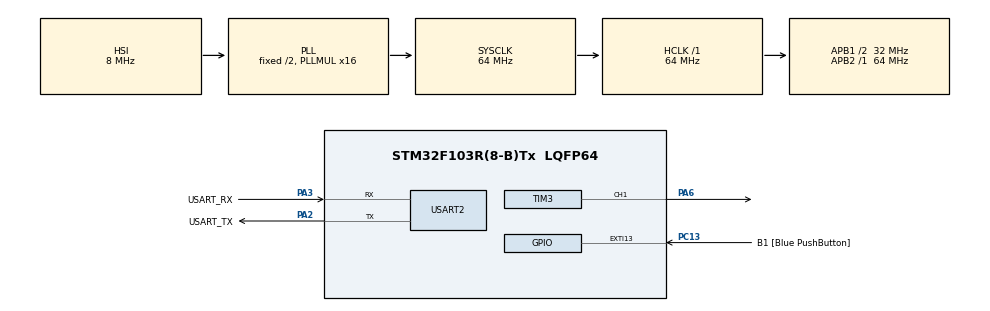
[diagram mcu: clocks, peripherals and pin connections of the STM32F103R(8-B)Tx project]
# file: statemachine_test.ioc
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Mcu.Family=STM32F1
Mcu.Name=STM32F103R(8-B)Tx
Mcu.Package=LQFP64
NVIC.EXTI15_10_IRQn=true\:0\:0\:false\:false\:true\:true\:true\:true
NVIC.PriorityGroup=NVIC_PRIORITYGROUP_4
NVIC.TIM3_IRQn=true\:0\:0\:false\:false\:true\:true\:true\:true
PA13.GPIO_Label=TMS
PA13.Mode=Serial_Wire
PA13.Signal=SYS_JTMS-SWDIO
PA14.GPIO_Label=TCK
PA14.Mode=Serial_Wire
PA14.Signal=SYS_JTCK-SWCLK
PA2.GPIO_Label=USART_TX
PA2.GPIO_Mode=GPIO_MODE_AF_PP
PA2.GPIO_PuPd=GPIO_NOPULL
PA2.GPIO_Speed=GPIO_SPEED_FREQ_LOW
PA2.Mode=Asynchronous
PA2.Signal=USART2_TX
PA3.GPIO_Label=USART_RX
PA3.GPIO_Mode=GPIO_MODE_AF_PP
PA3.GPIO_PuPd=GPIO_NOPULL
PA3.GPIO_Speed=GPIO_SPEED_FREQ_LOW
PA3.Mode=Asynchronous
PA3.Signal=USART2_RX
PA6.Signal=S_TIM3_CH1
PB3.GPIO_Label=SWO
PB3.Signal=SYS_JTDO-TRACESWO
PC13-TAMPER-RTC.GPIO_Label=B1 [Blue PushButton]
PC13-TAMPER-RTC.GPIO_PuPd=GPIO_NOPULL
PC13-TAMPER-RTC.Signal=GPXTI13
PC14-OSC32_IN.Mode=LSE-External-Oscillator
PC14-OSC32_IN.Signal=RCC_OSC32_IN
PC15-OSC32_OUT.Mode=LSE-External-Oscillator
PC15-OSC32_OUT.Signal=RCC_OSC32_OUT
PD0-OSC_IN.Mode=HSE-External-Clock-Source
PD0-OSC_IN.Signal=RCC_OSC_IN
PD1-OSC_OUT.Mode=HSE-External-Clock-Source
PD1-OSC_OUT.Signal=RCC_OSC_OUT
ProjectManager.HeapSize=0x200
ProjectManager.StackSize=0x400
ProjectManager.TargetToolchain=STM32CubeIDE
RCC.AHBFreq_Value=64000000
RCC.APB1CLKDivider=RCC_HCLK_DIV2
RCC.APB1Freq_Value=32000000
RCC.APB1TimFreq_Value=64000000
RCC.APB2Freq_Value=64000000
RCC.APB2TimFreq_Value=64000000
RCC.HCLKFreq_Value=64000000
RCC.PLLMUL=RCC_PLL_MUL16
RCC.RTCClockSelection=RCC_RTCCLKSOURCE_LSE
RCC.SYSCLKFreq_VALUE=64000000
RCC.SYSCLKSource=RCC_SYSCLKSOURCE_PLLCLK
RCC.USBFreq_Value=64000000
SH.S_TIM3_CH1.0=TIM3_CH1,PWM Generation1 CH1
TIM3.Channel-PWM\ Generation1\ CH1=TIM_CHANNEL_1
TIM3.Period=1000 - 1
TIM3.Prescaler=64 - 1
USART2.VirtualMode=VM_ASYNC
VP_TIM3_VS_ClockSourceINT.Mode=Internal
board=NUCLEO-F103RB

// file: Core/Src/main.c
/* USER CODE BEGIN Header */
/**
  ******************************************************************************
  * @file           : main.c
  * @brief          : Main program body
  ******************************************************************************
  * @attention
  *
  * Copyright (c) 2024 STMicroelectronics.
  * All rights reserved.
  *
  * This software is licensed under terms that can be found in the LICENSE file
  * in the root directory of this software component.
  * If no LICENSE file comes with this software, it is provided AS-IS.
  *
  ******************************************************************************
  */
/* USER CODE END Header */
#include "main.h"

/* USER CODE BEGIN Includes */
#include <stdint.h>
#include <stdio.h>
/* USER CODE END Includes */

/* USER CODE BEGIN PTD */
enum event{
  ON,
  OFF
};

typedef enum{
  LIGHT_OFF,
  LIGHT_DIM,
  LIGHT_MEDIUM,
  LIGHT_FULL
}light_state_t;

light_state_t curr_state;

/* USER CODE END PTD */

/* USER CODE BEGIN PD */
#define LIGHT_BRIGHT_DIM	333
#define LIGHT_BRIGHT_MED	666
#define LIGHT_BRIGHT_FULL	999
#define LIGHT_BRIGHT_OFF	0

/* USER CODE END PD */

TIM_HandleTypeDef htim3;

UART_HandleTypeDef huart2;

void SystemClock_Config(void);
static void MX_GPIO_Init(void);
static void MX_USART2_UART_Init(void);
static void MX_TIM3_Init(void);
/* USER CODE BEGIN PFP */
void light_state_machine(uint8_t event);
void light_change_intensity(uint32_t value);
void run_entry_action(light_state_t state);
/* USER CODE END PFP */

/* USER CODE BEGIN 0 */
int _read(int file, char *ptr, int len){
  HAL_UART_Receive(&huart2, (uint8_t*)ptr, 1, HAL_MAX_DELAY);
  HAL_UART_Transmit(&huart2, (uint8_t*)ptr, 1, 100);
  return 1;
}

int _write(int file, char *ptr, int len){
  HAL_UART_Transmit(&huart2, (uint8_t*)ptr, len, 100);
  return len;
}

void light_init(void){
  curr_state = LIGHT_OFF;
  run_entry_action(LIGHT_OFF);
}
/* USER CODE END 0 */

int main(void)
{

  /* MCU Configuration--------------------------------------------------------*/

  /* Reset of all peripherals, Initializes the Flash interface and the Systick. */
  HAL_Init();

  /* Configure the system clock */
  SystemClock_Config();

  /* Initialize all configured peripherals */
  MX_GPIO_Init();
  MX_USART2_UART_Init();
  MX_TIM3_Init();
  /* USER CODE BEGIN 2 */
  uint8_t rx = 0;
  HAL_TIM_PWM_Start(&htim3, TIM_CHANNEL_1);

  printf("Light control application\r\n");
  printf("-------------------------\r\n");
  printf("Send 'x' or 'o'\r\n");
  /* USER CODE END 2 */

  /* Infinite loop */
  while (1)
  {

    /* USER CODE BEGIN 3 */
    if (HAL_UART_Receive(&huart2, &rx, 1, HAL_MAX_DELAY) == HAL_OK){
	//HAL_UART_Transmit(&huart2, &rx, 1, HAL_MAX_DELAY);
	if (rx == 'o'){
	    light_state_machine(ON);
	}
	else if (rx == 'x'){
	    light_state_machine(OFF);
	}
	rx = 0;
    }
  }
  /* USER CODE END 3 */
}

void SystemClock_Config(void)
{
  RCC_OscInitTypeDef RCC_OscInitStruct = {0};
  RCC_ClkInitTypeDef RCC_ClkInitStruct = {0};

  /** Initializes the RCC Oscillators according to the specified parameters
  * in the RCC_OscInitTypeDef structure.
  */
  RCC_OscInitStruct.OscillatorType = RCC_OSCILLATORTYPE_HSI;
  RCC_OscInitStruct.HSIState = RCC_HSI_ON;
  RCC_OscInitStruct.HSICalibrationValue = RCC_HSICALIBRATION_DEFAULT;
  RCC_OscInitStruct.PLL.PLLState = RCC_PLL_ON;
  RCC_OscInitStruct.PLL.PLLSource = RCC_PLLSOURCE_HSI_DIV2;
  RCC_OscInitStruct.PLL.PLLMUL = RCC_PLL_MUL16;
  if (HAL_RCC_OscConfig(&RCC_OscInitStruct) != HAL_OK)
  {
    Error_Handler();
  }

  /** Initializes the CPU, AHB and APB buses clocks
  */
  RCC_ClkInitStruct.ClockType = RCC_CLOCKTYPE_HCLK|RCC_CLOCKTYPE_SYSCLK
                              |RCC_CLOCKTYPE_PCLK1|RCC_CLOCKTYPE_PCLK2;
  RCC_ClkInitStruct.SYSCLKSource = RCC_SYSCLKSOURCE_PLLCLK;
  RCC_ClkInitStruct.AHBCLKDivider = RCC_SYSCLK_DIV1;
  RCC_ClkInitStruct.APB1CLKDivider = RCC_HCLK_DIV2;
  RCC_ClkInitStruct.APB2CLKDivider = RCC_HCLK_DIV1;

  if (HAL_RCC_ClockConfig(&RCC_ClkInitStruct, FLASH_LATENCY_2) != HAL_OK)
  {
    Error_Handler();
  }
}

static void MX_TIM3_Init(void)
{

  TIM_ClockConfigTypeDef sClockSourceConfig = {0};
  TIM_MasterConfigTypeDef sMasterConfig = {0};
  TIM_OC_InitTypeDef sConfigOC = {0};

  htim3.Instance = TIM3;
  htim3.Init.Prescaler = 64 - 1;
  htim3.Init.CounterMode = TIM_COUNTERMODE_UP;
  htim3.Init.Period = 1000 - 1;
  htim3.Init.ClockDivision = TIM_CLOCKDIVISION_DIV1;
  htim3.Init.AutoReloadPreload = TIM_AUTORELOAD_PRELOAD_DISABLE;
  if (HAL_TIM_Base_Init(&htim3) != HAL_OK)
  {
    Error_Handler();
  }
  sClockSourceConfig.ClockSource = TIM_CLOCKSOURCE_INTERNAL;
  if (HAL_TIM_ConfigClockSource(&htim3, &sClockSourceConfig) != HAL_OK)
  {
    Error_Handler();
  }
  if (HAL_TIM_PWM_Init(&htim3) != HAL_OK)
  {
    Error_Handler();
  }
  sMasterConfig.MasterOutputTrigger = TIM_TRGO_RESET;
  sMasterConfig.MasterSlaveMode = TIM_MASTERSLAVEMODE_DISABLE;
  if (HAL_TIMEx_MasterConfigSynchronization(&htim3, &sMasterConfig) != HAL_OK)
  {
    Error_Handler();
  }
  sConfigOC.OCMode = TIM_OCMODE_PWM1;
  sConfigOC.Pulse = 0;
  sConfigOC.OCPolarity = TIM_OCPOLARITY_HIGH;
  sConfigOC.OCFastMode = TIM_OCFAST_DISABLE;
  if (HAL_TIM_PWM_ConfigChannel(&htim3, &sConfigOC, TIM_CHANNEL_1) != HAL_OK)
  {
    Error_Handler();
  }
  HAL_TIM_MspPostInit(&htim3);

}

static void MX_USART2_UART_Init(void)
{

  huart2.Instance = USART2;
  huart2.Init.BaudRate = 115200;
  huart2.Init.WordLength = UART_WORDLENGTH_8B;
  huart2.Init.StopBits = UART_STOPBITS_1;
  huart2.Init.Parity = UART_PARITY_NONE;
  huart2.Init.Mode = UART_MODE_TX_RX;
  huart2.Init.HwFlowCtl = UART_HWCONTROL_NONE;
  huart2.Init.OverSampling = UART_OVERSAMPLING_16;
  if (HAL_UART_Init(&huart2) != HAL_OK)
  {
    Error_Handler();
  }

}

static void MX_GPIO_Init(void)
{
  GPIO_InitTypeDef GPIO_InitStruct = {0};

  /* GPIO Ports Clock Enable */
  __HAL_RCC_GPIOC_CLK_ENABLE();
  __HAL_RCC_GPIOD_CLK_ENABLE();
  __HAL_RCC_GPIOA_CLK_ENABLE();
  __HAL_RCC_GPIOB_CLK_ENABLE();

  /*Configure GPIO pin : B1_Pin */
  GPIO_InitStruct.Pin = B1_Pin;
  GPIO_InitStruct.Mode = GPIO_MODE_IT_RISING;
  GPIO_InitStruct.Pull = GPIO_NOPULL;
  HAL_GPIO_Init(B1_GPIO_Port, &GPIO_InitStruct);

  /* EXTI interrupt init*/
  HAL_NVIC_SetPriority(EXTI15_10_IRQn, 0, 0);
  HAL_NVIC_EnableIRQ(EXTI15_10_IRQn);

}

/* USER CODE BEGIN 4 */

/**
 * Impementation of state machine handler
 * - Nested Switch
 * - State table approach
 * - State handler approach
 */
void light_state_machine(uint8_t event){
  light_state_t prev_state;

  prev_state = curr_state;

  switch(curr_state){
    case LIGHT_OFF:
      switch(event){
	case ON:{
	  curr_state = LIGHT_DIM;
	  break;
	}
	case OFF:{
	  curr_state = LIGHT_OFF;
	  break;
	}
      }
      break;
    case LIGHT_DIM:
      switch(event){
	case ON:{
	  curr_state = LIGHT_MEDIUM;
	  break;
	}
	case OFF:{
	  curr_state = LIGHT_OFF;
	  break;
	}
      }
      break;
    case LIGHT_MEDIUM:
      switch(event){
	case ON:{
	  curr_state = LIGHT_FULL;
	  break;
	}
	case OFF:{
	  curr_state = LIGHT_OFF;
	  break;
	}
      }
      break;

    case LIGHT_FULL:
      switch(event){
	case ON:{
	  curr_state = LIGHT_DIM;
	  break;
	}
	case OFF:{
	  curr_state = LIGHT_OFF;
	  break;
	}
      }
      break;
  }
  /* If state transition occurred due to event,
   * run entry action */
  if (prev_state != curr_state)
    run_entry_action(curr_state);

}

void light_change_intensity(uint32_t value){
  __HAL_TIM_SET_COMPARE(&htim3, TIM_CHANNEL_1, value);
}

void run_entry_action(light_state_t state){
  switch(state){
    case LIGHT_OFF:
      light_change_intensity(LIGHT_BRIGHT_OFF);
      break;
    case LIGHT_DIM:
      light_change_intensity(LIGHT_BRIGHT_DIM);
      break;
    case LIGHT_MEDIUM:
      light_change_intensity(LIGHT_BRIGHT_MED);
      break;
    case LIGHT_FULL:
      light_change_intensity(LIGHT_BRIGHT_FULL);
      break;
  }
}

/* USER CODE END 4 */

void Error_Handler(void)
{
  __disable_irq();
  while (1)
  {
  }
}
